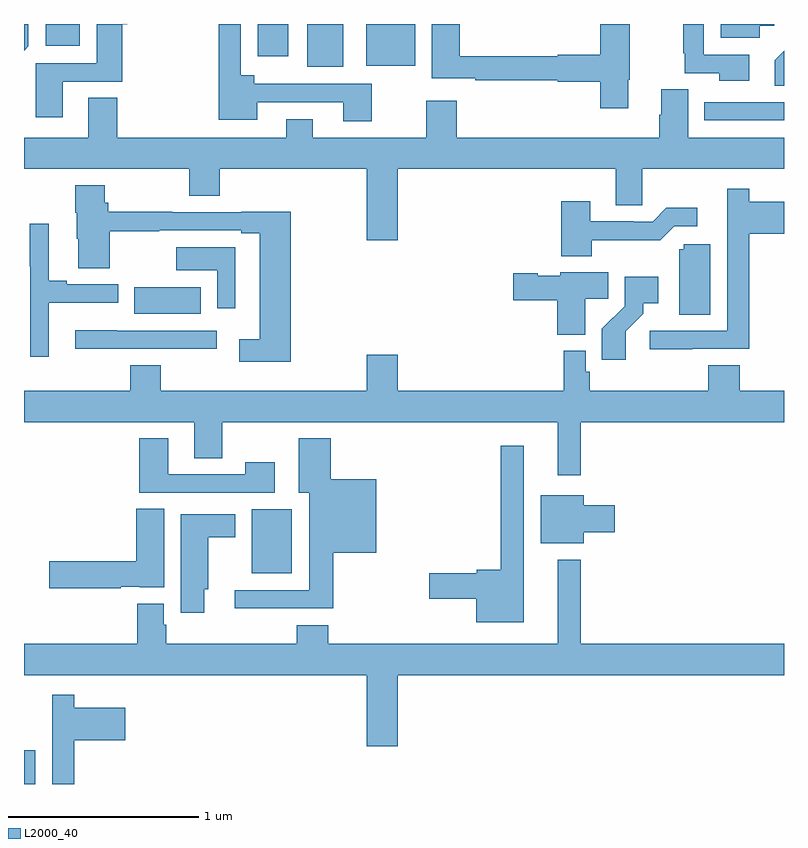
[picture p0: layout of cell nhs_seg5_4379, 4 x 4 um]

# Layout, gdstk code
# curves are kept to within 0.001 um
import gdstk
lib = gdstk.Library(unit=1e-6, precision=1e-09)
def R(c, l, rs):  # rectangles x0, y0, x1, y1
    for r in rs: c.add(gdstk.rectangle(r[:2], r[2:], *l))
def P(c, l, *ps):  # polygons
    for p in ps: c.add(gdstk.Polygon(p, *l))
L2000_40 = (2000, 40)

nhs_seg5_4379 = lib.new_cell('nhs_seg5_4379')
R(nhs_seg5_4379, L2000_40, [(367,910.799,367.06,910.977), (368.198,911.909,368.41,912.244), (367.581,913.274,367.931,913.414), (370.58,914.292,371,914.388), (368.492,914.573,368.68,914.799), (368.801,914.579,369.058,914.799), (368.231,914.628,368.392,914.799), (367.115,914.684,367.294,914.799)])
P(nhs_seg5_4379, L2000_40, [(367.204,914.496),(367.517,914.496),(367.517,914.798),(367.543,914.798),(367.543,914.799),(367.382,914.799),(367.382,914.592),(367.061,914.592),(367.061,914.307),(367.204,914.307)],
  [(367.023,914.682),(367.023,914.799),(367,914.799),(367,914.659)],
  [(370.18,914.505),(370.188,914.505),(370.188,914.799),(370.034,914.799),(370.034,914.638),(369.81,914.638),(369.81,914.63),(369.293,914.63),(369.293,914.799),(369.146,914.799),(369.146,914.514),(369.376,914.514),(369.376,914.502),(369.81,914.502),(369.81,914.494),(370.034,914.494),(370.034,914.355),(370.18,914.355)],
  [(368.829,914.484),(368.212,914.484),(368.212,914.53),(368.142,914.53),(368.142,914.799),(368.026,914.799),(368.026,914.294),(368.227,914.294),(368.227,914.388),(368.681,914.388),(368.681,914.286),(368.829,914.286)],
  [(370.873,914.789),(370.948,914.789),(370.948,914.799),(370.667,914.799),(370.667,914.726),(370.873,914.726)],
  [(370.816,914.637),(370.578,914.637),(370.578,914.799),(370.47,914.799),(370.47,914.644),(370.477,914.644),(370.477,914.541),(370.66,914.541),(370.66,914.501),(370.816,914.501)],
  [(371,914.658),(370.951,914.609),(370.951,914.473),(371,914.473)],
  [(368.968,914.036),(370.115,914.036),(370.115,913.846),(370.254,913.846),(370.254,914.036),(371,914.036),(371,914.2),(370.495,914.2),(370.495,914.456),(370.355,914.456),(370.355,914.322),(370.343,914.322),(370.343,914.2),(369.278,914.2),(369.278,914.395),(369.118,914.395),(369.118,914.2),(368.521,914.2),(368.521,914.299),(368.381,914.299),(368.381,914.2),(367.49,914.2),(367.49,914.411),(367.337,914.411),(367.337,914.2),(367,914.2),(367,914.036),(367.87,914.036),(367.87,913.894),(368.03,913.894),(368.03,914.036),(368.804,914.036),(368.804,913.662),(368.968,913.662)],
  [(368.405,913.812),(368.144,913.812),(368.144,913.809),(367.781,913.809),(367.781,913.812),(367.444,913.812),(367.444,913.857),(367.425,913.857),(367.425,913.951),(367.27,913.951),(367.27,913.806),(367.277,913.806),(367.277,913.668),(367.286,913.668),(367.286,913.513),(367.452,913.513),(367.452,913.708),(367.712,913.708),(367.712,913.713),(368.144,913.713),(368.144,913.697),(368.24,913.697),(368.24,913.139),(368.133,913.139),(368.133,913.022),(368.405,913.022)],
  [(370.517,913.089),(370.817,913.089),(370.817,913.694),(371,913.694),(371,913.864),(370.817,913.864),(370.817,913.933),(370.7,913.933),(370.7,913.71),(370.701,913.71),(370.701,913.185),(370.293,913.185),(370.293,913.087),(370.517,913.087)],
  [(369.987,913.662),(370.349,913.661),(370.422,913.734),(370.543,913.734),(370.543,913.831),(370.381,913.831),(370.308,913.758),(370.208,913.758),(370.208,913.761),(369.979,913.761),(369.979,913.867),(369.827,913.867),(369.827,913.577),(369.987,913.577)],
  [(367.129,913.331),(367.496,913.331),(367.496,913.428),(367.225,913.428),(367.225,913.448),(367.129,913.448),(367.129,913.747),(367.031,913.747),(367.031,913.525),(367.032,913.525),(367.032,913.047),(367.129,913.047)],
  [(370.612,913.641),(370.473,913.641),(370.473,913.614),(370.448,913.614),(370.448,913.27),(370.612,913.27)],
  [(368.112,913.623),(367.8,913.623),(367.8,913.502),(368.016,913.502),(368.016,913.302),(368.112,913.302)],
  [(369.955,913.354),(370.076,913.354),(370.076,913.492),(369.822,913.492),(369.822,913.474),(369.705,913.474),(369.705,913.487),(369.576,913.487),(369.576,913.345),(369.806,913.345),(369.806,913.163),(369.955,913.163)],
  [(370.168,913.183),(370.258,913.273),(370.258,913.328),(370.339,913.328),(370.339,913.468),(370.161,913.468),(370.161,913.313),(370.042,913.194),(370.042,913.032),(370.168,913.032)],
  [(368.014,913.185),(367.488,913.185),(367.488,913.186),(367.269,913.186),(367.269,913.089),(368.014,913.089)],
  [(369.931,912.704),(371,912.704),(371,912.868),(370.766,912.868),(370.766,913.004),(370.601,913.004),(370.601,912.868),(369.977,912.868),(369.977,912.969),(369.957,912.969),(369.957,913.078),(369.841,913.078),(369.841,912.868),(368.968,912.868),(368.968,913.057),(368.804,913.057),(368.804,912.868),(367.719,912.868),(367.719,913.004),(367.559,913.004),(367.559,912.868),(367,912.868),(367,912.704),(367.895,912.704),(367.895,912.514),(368.043,912.514),(368.043,912.704),(369.809,912.704),(369.809,912.423),(369.931,912.423)],
  [(368.32,912.493),(368.164,912.493),(368.164,912.429),(367.759,912.429),(367.759,912.619),(367.607,912.619),(367.607,912.333),(368.32,912.333)],
  [(368.627,912.017),(368.854,912.017),(368.854,912.403),(368.614,912.403),(368.614,912.619),(368.447,912.619),(368.447,912.332),(368.501,912.332),(368.501,911.82),(368.109,911.82),(368.109,911.723),(368.627,911.723)],
  [(369.631,912.58),(369.51,912.58),(369.51,911.927),(369.384,911.927),(369.384,911.909),(369.132,911.909),(369.132,911.774),(369.38,911.774),(369.38,911.651),(369.631,911.651)],
  [(369.946,912.125),(370.108,912.125),(370.108,912.267),(369.946,912.267),(369.946,912.319),(369.719,912.319),(369.719,912.065),(369.946,912.065)],
  [(367.508,911.837),(367.608,911.837),(367.608,911.834),(367.738,911.834),(367.738,912.248),(367.592,912.248),(367.592,911.972),(367.134,911.972),(367.134,911.83),(367.508,911.83)],
  [(367.948,911.823),(367.969,911.823),(367.969,912.098),(368.113,912.098),(368.113,912.22),(367.826,912.22),(367.826,911.7),(367.948,911.7)],
  [(368.968,911.372),(371,911.372),(371,911.536),(369.931,911.536),(369.931,911.98),(369.809,911.98),(369.809,911.536),(368.6,911.536),(368.6,911.635),(368.435,911.635),(368.435,911.536),(367.748,911.536),(367.748,911.637),(367.735,911.637),(367.735,911.749),(367.595,911.749),(367.595,911.536),(367,911.536),(367,911.372),(368.804,911.372),(368.804,910.998),(368.968,910.998)],
  [(367.265,911.03),(367.534,911.03),(367.534,911.2),(367.265,911.2),(367.265,911.269),(367.148,911.269),(367.148,911.046),(367.149,911.046),(367.149,910.799),(367.265,910.799)])

lib.write_gds('nhs_seg5_4379.gds')
